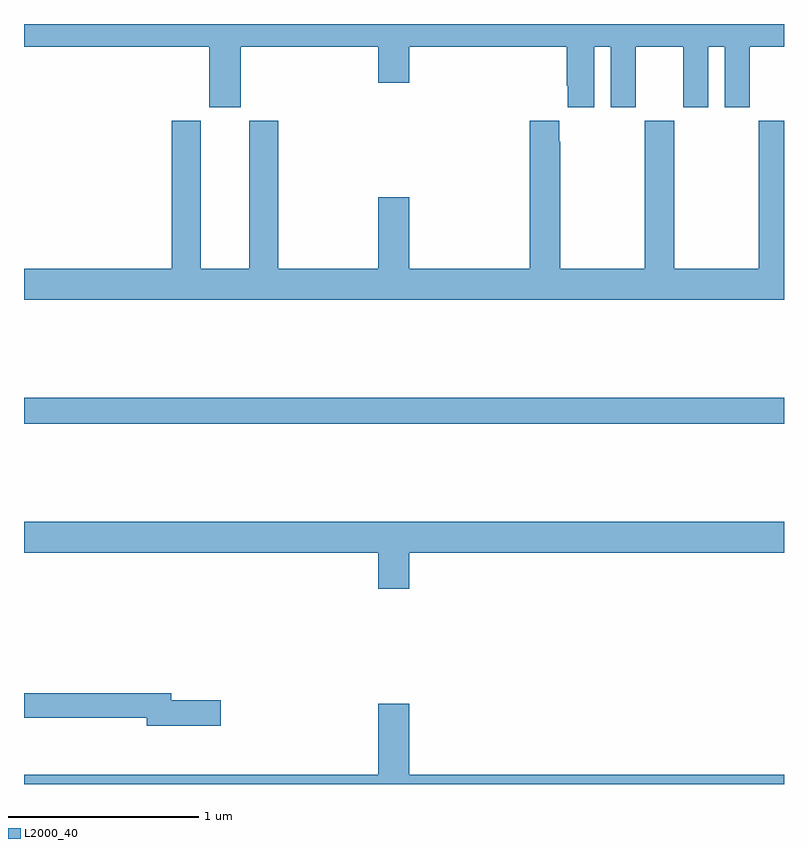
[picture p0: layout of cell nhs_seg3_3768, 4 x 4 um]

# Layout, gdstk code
import gdstk
lib = gdstk.Library(unit=1e-6, precision=1e-09)
def R(c, l, rs):  # rectangles x0, y0, x1, y1
    for r in rs: c.add(gdstk.rectangle(r[:2], r[2:], *l))
def P(c, l, *ps):  # polygons
    for p in ps: c.add(gdstk.Polygon(p, *l))
L2000_40 = (2000, 40)

nhs_seg3_3768 = lib.new_cell('nhs_seg3_3768')
R(nhs_seg3_3768, L2000_40, [(307,668.296,311,668.432)])
P(nhs_seg3_3768, L2000_40, [(308.14,670.28),(308.864,670.28),(308.864,670.092),(309.028,670.092),(309.028,670.28),(309.857,670.28),(309.857,670.075),(309.863,670.075),(309.863,669.963),(310,669.963),(310,670.28),(310.088,670.28),(310.088,669.963),(310.219,669.963),(310.219,670.28),(310.469,670.28),(310.469,669.963),(310.6,669.963),(310.6,670.28),(310.688,670.28),(310.688,669.963),(310.819,669.963),(310.819,670.28),(311,670.28),(311,670.4),(307,670.4),(307,670.28),(307.976,670.28),(307.976,669.963),(308.14,669.963)],
  [(311,669.892),(310.867,669.892),(310.867,669.112),(310.422,669.112),(310.422,669.892),(310.267,669.892),(310.267,669.112),(309.822,669.112),(309.822,669.779),(309.817,669.779),(309.817,669.892),(309.662,669.892),(309.662,669.112),(309.028,669.112),(309.028,669.487),(308.864,669.487),(308.864,669.112),(308.339,669.112),(308.339,669.891),(308.186,669.891),(308.186,669.112),(307.93,669.112),(307.93,669.891),(307.778,669.891),(307.778,669.112),(307,669.112),(307,668.948),(311,668.948)],
  [(309.028,667.616),(311,667.616),(311,667.78),(307,667.78),(307,667.616),(308.864,667.616),(308.864,667.428),(309.028,667.428)],
  [(308.035,666.842),(307.774,666.842),(307.774,666.878),(307,666.878),(307,666.75),(307.646,666.75),(307.646,666.707),(308.035,666.707)],
  [(311,666.448),(309.028,666.448),(309.028,666.823),(308.864,666.823),(308.864,666.448),(307,666.448),(307,666.4),(311,666.4)])

lib.write_gds('nhs_seg3_3768.gds')
